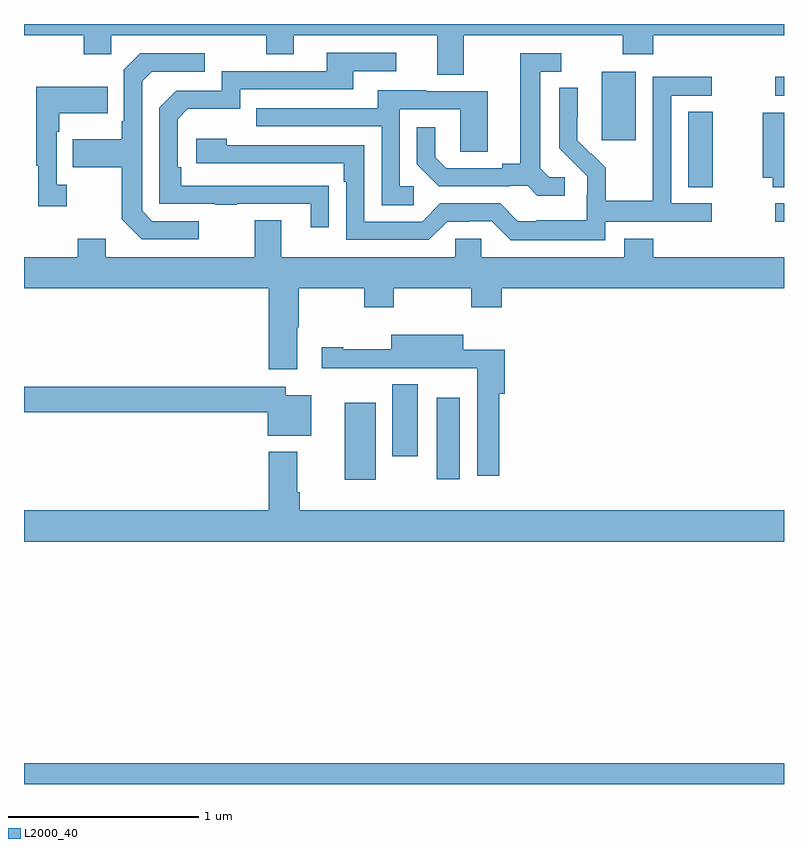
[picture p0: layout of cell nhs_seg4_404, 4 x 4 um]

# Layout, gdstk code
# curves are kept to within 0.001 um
import gdstk
lib = gdstk.Library(unit=1e-6, precision=1e-09)
def R(c, l, rs):  # rectangles x0, y0, x1, y1
    for r in rs: c.add(gdstk.rectangle(r[:2], r[2:], *l))
def P(c, l, *ps):  # polygons
    for p in ps: c.add(gdstk.Polygon(p, *l))
L2000_40 = (2000, 40)

nhs_seg4_404 = lib.new_cell('nhs_seg4_404')
R(nhs_seg4_404, L2000_40, [(131,772.9,135,773.008), (132.689,774.501,132.85,774.907), (133.172,774.504,133.294,774.934), (132.938,774.624,133.072,775.003), (134.955,775.86,135,775.956), (134.495,776.041,134.626,776.438), (134.042,776.289,134.221,776.65), (134.955,776.523,135,776.622)])
P(nhs_seg4_404, L2000_40, [(133.315,776.84),(134.152,776.84),(134.152,776.741),(134.312,776.741),(134.312,776.84),(135,776.84),(135,776.9),(131,776.9),(131,776.84),(131.314,776.84),(131.314,776.741),(131.46,776.741),(131.46,776.84),(132.274,776.84),(132.274,776.741),(132.421,776.741),(132.421,776.84),(133.175,776.84),(133.175,776.632),(133.315,776.632)],
  [(132.605,776.048),(131.828,776.049),(131.828,776.146),(131.808,776.146),(131.808,776.4),(131.861,776.453),(132.138,776.453),(132.138,776.556),(132.733,776.556),(132.733,776.652),(132.958,776.652),(132.958,776.748),(132.593,776.748),(132.593,776.652),(132.042,776.652),(132.042,776.55),(131.802,776.55),(131.712,776.46),(131.712,775.953),(132.007,775.953),(132.007,775.948),(132.119,775.948),(132.119,775.953),(132.509,775.953),(132.509,775.83),(132.605,775.83)],
  [(131.92,775.863),(131.676,775.863),(131.622,775.917),(131.622,776.598),(131.673,776.649),(131.95,776.649),(131.95,776.745),(131.613,776.745),(131.526,776.658),(131.526,776.389),(131.514,776.389),(131.514,776.293),(131.257,776.293),(131.257,776.146),(131.514,776.146),(131.514,775.873),(131.619,775.767),(131.92,775.767)],
  [(133.846,776.094),(133.764,776.094),(133.717,776.141),(133.717,776.649),(133.828,776.649),(133.828,776.745),(133.613,776.745),(133.613,776.165),(133.517,776.165),(133.517,776.142),(133.222,776.142),(133.165,776.199),(133.165,776.356),(133.068,776.356),(133.068,776.162),(133.184,776.046),(133.556,776.046),(133.556,776.049),(133.65,776.049),(133.702,775.997),(133.846,775.997)],
  [(134.058,775.86),(134.62,775.86),(134.62,775.956),(134.406,775.956),(134.406,776.523),(134.62,776.523),(134.62,776.622),(134.31,776.622),(134.31,776.192),(134.308,776.192),(134.308,775.969),(134.063,775.969),(134.063,776.143),(133.986,776.22),(133.983,776.217),(133.913,776.288),(133.914,776.564),(133.818,776.564),(133.818,776.246),(133.964,776.098),(133.964,776.001),(133.962,776.001),(133.962,775.867),(133.699,775.867),(133.699,775.863),(133.599,775.863),(133.506,775.956),(133.191,775.956),(133.095,775.86),(132.792,775.86),(132.792,776.262),(132.068,776.262),(132.068,776.296),(131.907,776.296),(131.907,776.166),(132.683,776.166),(132.683,776.069),(132.696,776.069),(132.696,775.764),(133.131,775.764),(133.227,775.86),(133.346,775.86),(133.346,775.863),(133.461,775.863),(133.561,775.763),(134.058,775.763)],
  [(131.224,776.054),(131.172,776.054),(131.172,776.333),(131.185,776.333),(131.185,776.429),(131.441,776.429),(131.441,776.569),(131.064,776.569),(131.064,776.153),(131.075,776.153),(131.075,775.941),(131.224,775.941)],
  [(133.051,776.046),(132.978,776.046),(132.978,776.451),(133.296,776.451),(133.296,776.227),(133.441,776.227),(133.441,776.547),(133.117,776.547),(133.117,776.551),(132.863,776.551),(132.863,776.457),(132.223,776.457),(132.223,776.361),(132.882,776.361),(132.882,775.945),(133.051,775.945)],
  [(135,776.434),(134.888,776.434),(134.888,776.09),(134.941,776.09),(134.941,776.041),(135,776.041)],
  [(132.439,775.304),(132.447,775.304),(132.447,775.508),(132.79,775.508),(132.79,775.409),(132.945,775.409),(132.945,775.508),(133.354,775.508),(133.354,775.409),(133.514,775.409),(133.514,775.508),(135,775.508),(135,775.672),(134.312,775.672),(134.312,775.771),(134.159,775.771),(134.159,775.672),(133.407,775.672),(133.407,775.77),(133.269,775.77),(133.269,775.672),(132.355,775.672),(132.355,775.867),(132.215,775.867),(132.215,775.672),(131.431,775.672),(131.431,775.771),(131.284,775.771),(131.284,775.672),(131,775.672),(131,775.508),(132.287,775.508),(132.287,775.083),(132.439,775.083)],
  [(133.502,774.953),(133.529,774.953),(133.529,775.185),(133.312,775.185),(133.312,775.264),(132.932,775.264),(132.932,775.188),(132.679,775.188),(132.679,775.198),(132.567,775.198),(132.567,775.088),(132.836,775.088),(132.836,775.089),(133.068,775.089),(133.068,775.088),(133.386,775.088),(133.386,774.522),(133.502,774.522)],
  [(132.511,774.946),(132.378,774.946),(132.378,774.992),(131,774.992),(131,774.856),(132.284,774.856),(132.284,774.734),(132.511,774.734)],
  [(135,774.34),(132.452,774.34),(132.452,774.436),(132.439,774.436),(132.439,774.649),(132.287,774.649),(132.287,774.34),(131,774.34),(131,774.176),(135,774.176)])

lib.write_gds('nhs_seg4_404.gds')
